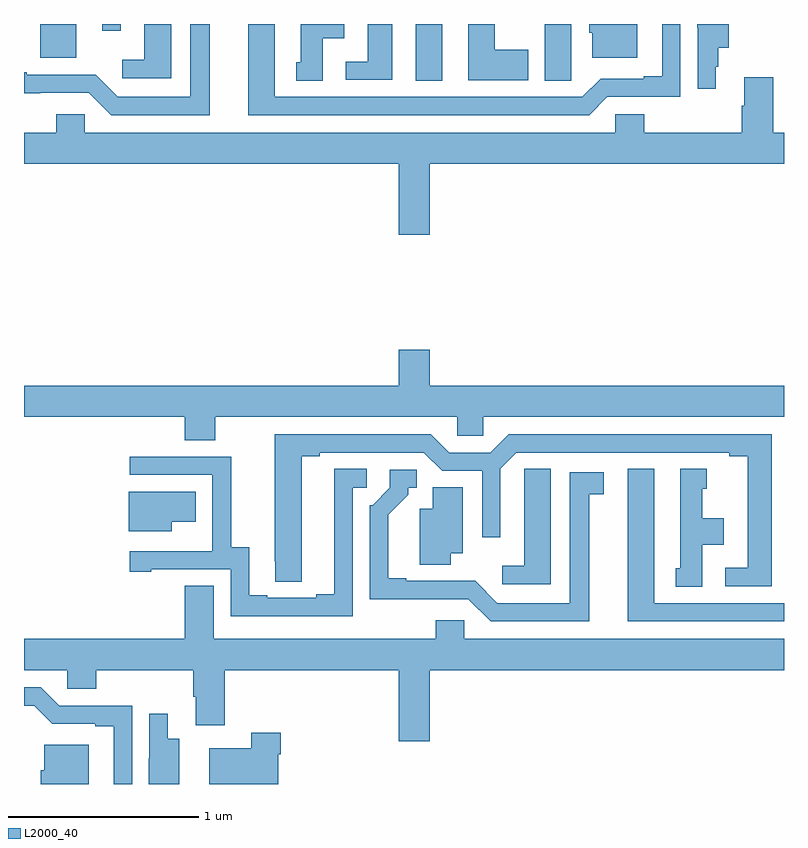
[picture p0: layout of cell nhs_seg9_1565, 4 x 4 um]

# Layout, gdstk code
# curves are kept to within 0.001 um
import gdstk
lib = gdstk.Library(unit=1e-6, precision=1e-09)
def R(c, l, rs):  # rectangles x0, y0, x1, y1
    for r in rs: c.add(gdstk.rectangle(r[:2], r[2:], *l))
def P(c, l, *ps):  # polygons
    for p in ps: c.add(gdstk.Polygon(p, *l))
L2000_40 = (2000, 40)

nhs_seg9_1565 = lib.new_cell('nhs_seg9_1565')
R(nhs_seg9_1565, L2000_40, [(201.062,1186.201,201.202,1186.5), (199.085,1186.322,199.276,1186.5), (199.412,1186.464,199.509,1186.5)])
P(nhs_seg9_1565, L2000_40, [(201.879,1186.312),(201.88,1186.312),(201.88,1186.5),(201.74,1186.5),(201.74,1186.201),(201.879,1186.201)],
  [(202.642,1186.275),(202.654,1186.275),(202.654,1186.376),(202.71,1186.376),(202.71,1186.5),(202.544,1186.5),(202.544,1186.48),(202.545,1186.48),(202.545,1186.158),(202.642,1186.158)],
  [(200.938,1186.5),(200.81,1186.5),(200.81,1186.302),(200.694,1186.302),(200.694,1186.206),(200.938,1186.206)],
  [(199.978,1186.5),(199.874,1186.5),(199.874,1186.116),(199.494,1186.116),(199.377,1186.233),(199.015,1186.233),(199.015,1186.246),(199,1186.246),(199,1186.136),(199.341,1186.137),(199.458,1186.02),(199.978,1186.02)],
  [(199.774,1186.5),(199.634,1186.5),(199.634,1186.312),(199.518,1186.312),(199.518,1186.215),(199.774,1186.215)],
  [(202.228,1186.5),(201.974,1186.5),(201.974,1186.455),(201.992,1186.455),(201.992,1186.322),(202.228,1186.322)],
  [(201.655,1186.365),(201.478,1186.365),(201.478,1186.5),(201.338,1186.5),(201.338,1186.205),(201.655,1186.205)],
  [(202.071,1186.116),(202.455,1186.116),(202.455,1186.5),(202.358,1186.5),(202.358,1186.225),(202.262,1186.225),(202.262,1186.212),(202.035,1186.212),(201.939,1186.116),(200.32,1186.116),(200.32,1186.5),(200.18,1186.5),(200.18,1186.02),(201.975,1186.02)],
  [(200.572,1186.424),(200.686,1186.424),(200.686,1186.5),(200.456,1186.5),(200.456,1186.299),(200.432,1186.299),(200.432,1186.201),(200.572,1186.201)],
  [(201.136,1185.764),(203,1185.764),(203,1185.928),(202.943,1185.928),(202.943,1186.219),(202.79,1186.219),(202.79,1186.07),(202.778,1186.07),(202.778,1185.928),(202.265,1185.928),(202.265,1186.026),(202.113,1186.026),(202.113,1185.928),(199.32,1185.928),(199.32,1186.026),(199.169,1186.026),(199.169,1185.928),(199,1185.928),(199,1185.764),(200.972,1185.764),(200.972,1185.39),(201.136,1185.39)],
  [(200.007,1184.432),(201.279,1184.432),(201.279,1184.334),(201.417,1184.334),(201.417,1184.432),(203,1184.432),(203,1184.596),(201.136,1184.596),(201.136,1184.785),(200.972,1184.785),(200.972,1184.596),(199,1184.596),(199,1184.432),(199.847,1184.432),(199.847,1184.308),(200.007,1184.308)],
  [(202.936,1184.34),(201.551,1184.34),(201.455,1184.244),(201.237,1184.244),(201.141,1184.34),(200.321,1184.34),(200.322,1183.564),(200.461,1183.564),(200.461,1184.224),(200.557,1184.224),(200.557,1184.244),(201.105,1184.244),(201.201,1184.148),(201.411,1184.148),(201.411,1183.8),(201.507,1183.8),(201.507,1184.16),(201.591,1184.244),(202.712,1184.244),(202.712,1184.224),(202.808,1184.224),(202.808,1183.638),(202.692,1183.638),(202.692,1183.542),(202.936,1183.542)],
  [(200.73,1184.058),(200.803,1184.058),(200.803,1184.159),(200.633,1184.159),(200.633,1183.499),(200.537,1183.499),(200.537,1183.479),(200.281,1183.479),(200.281,1183.494),(200.185,1183.494),(200.185,1183.745),(200.091,1183.745),(200.091,1184.223),(199.557,1184.223),(199.557,1184.127),(199.992,1184.127),(199.992,1183.726),(199.991,1183.726),(199.991,1183.725),(199.557,1183.725),(199.557,1183.617),(199.669,1183.617),(199.669,1183.629),(200.088,1183.629),(200.088,1183.383),(200.73,1183.383)],
  [(201.772,1184.159),(201.633,1184.159),(201.633,1184.051),(201.632,1184.051),(201.632,1183.648),(201.516,1183.648),(201.516,1183.551),(201.772,1183.551)],
  [(202.57,1183.76),(202.684,1183.76),(202.684,1183.9),(202.57,1183.9),(202.57,1184.055),(202.594,1184.055),(202.594,1184.158),(202.454,1184.158),(202.454,1183.635),(202.43,1183.635),(202.43,1183.537),(202.57,1183.537)],
  [(203,1183.452),(202.318,1183.452),(202.318,1184.158),(202.178,1184.158),(202.178,1183.356),(203,1183.356)],
  [(201.976,1184.026),(202.051,1184.026),(202.051,1184.142),(201.872,1184.142),(201.872,1183.452),(201.492,1183.452),(201.374,1183.57),(201.013,1183.569),(201.013,1183.582),(200.917,1183.582),(200.917,1183.918),(201.022,1184.023),(201.022,1184.058),(201.067,1184.058),(201.067,1184.154),(200.925,1184.154),(200.925,1184.058),(200.835,1183.968),(200.82,1183.968),(200.82,1183.472),(201.339,1183.473),(201.456,1183.356),(201.976,1183.356)],
  [(201.247,1183.715),(201.31,1183.715),(201.31,1184.063),(201.152,1184.063),(201.152,1183.948),(201.083,1183.948),(201.083,1183.654),(201.247,1183.654)],
  [(199.777,1183.88),(199.903,1183.88),(199.903,1184.038),(199.55,1184.038),(199.55,1183.829),(199.777,1183.829)],
  [(201.136,1183.1),(203,1183.1),(203,1183.264),(201.318,1183.264),(201.318,1183.362),(201.167,1183.362),(201.167,1183.264),(199.999,1183.264),(199.999,1183.544),(199.847,1183.544),(199.847,1183.264),(199,1183.264),(199,1183.1),(199.227,1183.1),(199.227,1183.002),(199.379,1183.002),(199.379,1183.1),(199.892,1183.1),(199.892,1182.958),(199.904,1182.958),(199.904,1182.81),(200.057,1182.81),(200.057,1183.1),(200.972,1183.1),(200.972,1182.726),(201.136,1182.726)],
  [(199.569,1182.912),(199.185,1182.912),(199.089,1183.008),(199,1183.008),(199,1182.912),(199.053,1182.912),(199.149,1182.816),(199.376,1182.816),(199.376,1182.804),(199.472,1182.804),(199.472,1182.5),(199.569,1182.5)],
  [(199.816,1182.739),(199.756,1182.739),(199.756,1182.871),(199.658,1182.871),(199.658,1182.635),(199.657,1182.635),(199.657,1182.5),(199.816,1182.5)],
  [(200.338,1182.656),(200.351,1182.656),(200.351,1182.769),(200.197,1182.769),(200.197,1182.688),(199.976,1182.688),(199.976,1182.5),(200.338,1182.5)],
  [(199.342,1182.706),(199.106,1182.706),(199.106,1182.573),(199.088,1182.573),(199.088,1182.5),(199.342,1182.5)])

lib.write_gds('nhs_seg9_1565.gds')
